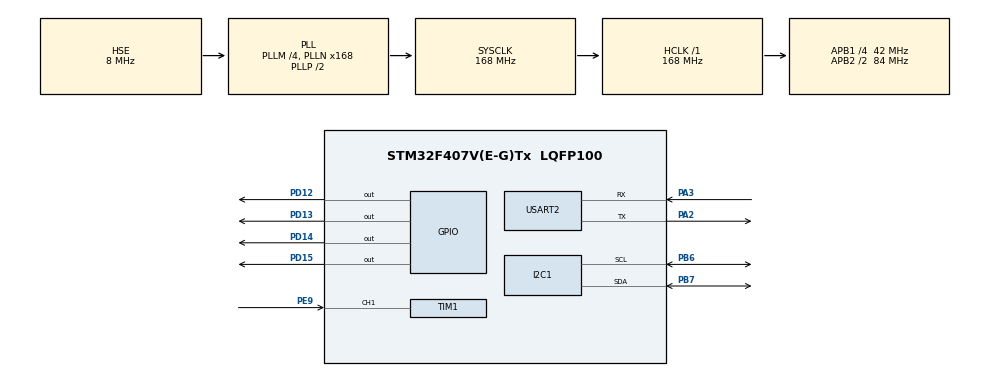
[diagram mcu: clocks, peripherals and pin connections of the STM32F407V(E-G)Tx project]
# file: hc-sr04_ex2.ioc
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Mcu.Family=STM32F4
Mcu.Name=STM32F407V(E-G)Tx
Mcu.Package=LQFP100
NVIC.PriorityGroup=NVIC_PRIORITYGROUP_4
NVIC.TIM1_TRG_COM_TIM11_IRQn=true\:0\:0\:false\:false\:true\:true
NVIC.TIM1_UP_TIM10_IRQn=true\:0\:0\:false\:false\:true\:true
NVIC.TIM2_IRQn=true\:0\:0\:false\:false\:true\:true
PA2.Mode=Asynchronous
PA2.Signal=USART2_TX
PA3.Mode=Asynchronous
PA3.Signal=USART2_RX
PB6.Mode=I2C
PB6.Signal=I2C1_SCL
PB7.Mode=I2C
PB7.Signal=I2C1_SDA
PD12.Signal=GPIO_Output
PD13.Signal=GPIO_Output
PD14.Signal=GPIO_Output
PD15.Signal=GPIO_Output
PE9.Signal=S_TIM1_CH1
PH0-OSC_IN.Mode=HSE-External-Oscillator
PH0-OSC_IN.Signal=RCC_OSC_IN
PH1-OSC_OUT.Mode=HSE-External-Oscillator
PH1-OSC_OUT.Signal=RCC_OSC_OUT
ProjectManager.HeapSize=0x200
ProjectManager.StackSize=0x400
ProjectManager.TargetToolchain=MDK-ARM V5
RCC.48MHZClocksFreq_Value=84000000
RCC.AHBFreq_Value=168000000
RCC.APB1CLKDivider=RCC_HCLK_DIV4
RCC.APB1Freq_Value=42000000
RCC.APB1TimFreq_Value=84000000
RCC.APB2CLKDivider=RCC_HCLK_DIV2
RCC.APB2Freq_Value=84000000
RCC.APB2TimFreq_Value=168000000
RCC.CortexFreq_Value=168000000
RCC.EnbaleCSS=true
RCC.HCLKFreq_Value=168000000
RCC.HSE_VALUE=8000000
RCC.HSI_VALUE=16000000
RCC.LSE_VALUE=32768
RCC.PLLM=4
RCC.PLLN=168
RCC.PLLSourceVirtual=RCC_PLLSOURCE_HSE
RCC.SYSCLKFreq_VALUE=168000000
RCC.SYSCLKSource=RCC_SYSCLKSOURCE_PLLCLK
RCC.VCOOutputFreq_Value=336000000
SH.S_TIM1_CH1.0=TIM1_CH1,TriggerSource_TI1FP1
TIM1.Period=23323
TIM1.Prescaler=167
TIM1.Slave_TriggerFilter=15
TIM2.Period=9
TIM2.Prescaler=83
USART2.VirtualMode=VM_ASYNC
VP_TIM1_VS_ClockSourceINT.Mode=Internal
VP_TIM1_VS_ControllerModeGated.Mode=Gated Mode
VP_TIM2_VS_ClockSourceINT.Mode=Internal
board=custom

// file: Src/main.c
/* USER CODE BEGIN Header */
/**
  ******************************************************************************
  * @file           : main.c
  * @brief          : Main program body
  ******************************************************************************
  ** This notice applies to any and all portions of this file
  * that are not between comment pairs USER CODE BEGIN and
  * USER CODE END. Other portions of this file, whether
  * inserted by the user or by software development tools
  * are owned by their respective copyright owners.
  *
  * COPYRIGHT(c) 2020 STMicroelectronics
  *
  * Redistribution and use in source and binary forms, with or without modification,
  * are permitted provided that the following conditions are met:
  *   1. Redistributions of source code must retain the above copyright notice,
  *      this list of conditions and the following disclaimer.
  *   2. Redistributions in binary form must reproduce the above copyright notice,
  *      this list of conditions and the following disclaimer in the documentation
  *      and/or other materials provided with the distribution.
  *   3. Neither the name of STMicroelectronics nor the names of its contributors
  *      may be used to endorse or promote products derived from this software
  *      without specific prior written permission.
  *
  * THIS SOFTWARE IS PROVIDED BY THE COPYRIGHT HOLDERS AND CONTRIBUTORS "AS IS"
  * AND ANY EXPRESS OR IMPLIED WARRANTIES, INCLUDING, BUT NOT LIMITED TO, THE
  * IMPLIED WARRANTIES OF MERCHANTABILITY AND FITNESS FOR A PARTICULAR PURPOSE ARE
  * DISCLAIMED. IN NO EVENT SHALL THE COPYRIGHT HOLDER OR CONTRIBUTORS BE LIABLE
  * FOR ANY DIRECT, INDIRECT, INCIDENTAL, SPECIAL, EXEMPLARY, OR CONSEQUENTIAL
  * DAMAGES (INCLUDING, BUT NOT LIMITED TO, PROCUREMENT OF SUBSTITUTE GOODS OR
  * SERVICES; LOSS OF USE, DATA, OR PROFITS; OR BUSINESS INTERRUPTION) HOWEVER
  * CAUSED AND ON ANY THEORY OF LIABILITY, WHETHER IN CONTRACT, STRICT LIABILITY,
  * OR TORT (INCLUDING NEGLIGENCE OR OTHERWISE) ARISING IN ANY WAY OUT OF THE USE
  * OF THIS SOFTWARE, EVEN IF ADVISED OF THE POSSIBILITY OF SUCH DAMAGE.
  *
  ******************************************************************************
  */
/* USER CODE END Header */

#include "main.h"

/* USER CODE BEGIN Includes */
#include "lcd_i2cModule.h"
#include <string.h>
#include "hcsr04_sensor.h"

/* USER CODE END Includes */

I2C_HandleTypeDef hi2c1;

TIM_HandleTypeDef htim1;
TIM_HandleTypeDef htim2;

UART_HandleTypeDef huart2;

/* USER CODE BEGIN PV */
float tx_us = 0;     //the time (transmission + reception) between object and the sensor in microseconds.
//float tx_ms = 0;   //the time in milliseconds.

//float dx_mm = 0;   //the distance(mm) converted from  the time (transmission + reception).
float dx_cm = 0;     //the distance(cm) ....
//float dx_m = 0;    //the distance(m) ....
//float dx_inch = 0; //the distance(inch) ....

hcsr04_data_t HCSR04_sensor;

//char log_info[120];
//int Alarm_Flag = 0;

/* USER CODE END PV */

void SystemClock_Config(void);
static void MX_GPIO_Init(void);
static void MX_USART2_UART_Init(void);
static void MX_TIM1_Init(void);
static void MX_I2C1_Init(void);
static void MX_TIM2_Init(void);

/* USER CODE BEGIN PFP */
void HAL_TIM_PeriodElapsedCallback(TIM_HandleTypeDef *htim)
{

	HCSR04_TIM_PEC(htim);

}

//void AlarmSet(double alarm_level)
//{
//
//	if(dx_cm <= alarm_level)
//	{
//		HAL_GPIO_WritePin(GPIOD, GPIO_PIN_14, GPIO_PIN_SET);      //Alarm On
//		Alarm_Flag = 1;                                           //Set Alarm Flag
//	}
//	else
//	{
//		HAL_GPIO_WritePin(GPIOD, GPIO_PIN_14, GPIO_PIN_RESET);    //Alarm Off
//		Alarm_Flag = 0;                                           //Reset Alarm Flag
//	}

//}

/* USER CODE END PFP */

int main(void)
{

  /* MCU Configuration--------------------------------------------------------*/

  /* Reset of all peripherals, Initializes the Flash interface and the Systick. */
  HAL_Init();

  /* Configure the system clock */
  SystemClock_Config();

  /* Initialize all configured peripherals */
  MX_GPIO_Init();
  MX_USART2_UART_Init();
  MX_TIM1_Init();
  MX_I2C1_Init();
  MX_TIM2_Init();

  /* USER CODE BEGIN 2 */
	LCD_i2cDeviceCheck();
	LCD_Init();
  LCD_BackLight(LCD_BL_ON);
//	LCD_SetCursor(1,1);

	HCSR04_Init();

  /* USER CODE END 2 */

  /* Infinite loop */
  /* USER CODE BEGIN WHILE */
  while (1)
  {
		//Default: Timer1 Parameter Settings;
	  //APB2 timer clocks (MHz): 168, Prescaler:167, AutoReload Register:23323
		//168 MHz / (167+1) = 1 MHz equals 1 us, Txf=1
		//So if we get ARR(counter period) value, the time(echo signal duration) equals (ARR+1) x 1us (use directly counter_TIM1 value in microseconds)
		//The sensor distance range: about 2cm-400cm, distance_cm = (counter_TIM1/2)*0.0343
		//If we get max. distance_cm=400, the counter_TIM1=(400*2)/0.0343=23323.6 , thus we can get max. ARR > 23323.6 as 23324 (ARR+1).
		//The sensor trigger pulse width= 10us

		//Default: Timer2 Parameter Settings;
	  //10us delay is enough and the sensor sends 8 pulses at 40kHz.
	  //APB1 timer clocks (MHz): 84, Prescaler:83, AutoReload Register(ARR):9
	  //84 MHz / (83+1) = 1 MHz equals 1 us, (ARR+1) x 1us equals 10us delay.

		//Blinking blue led (GPIO_PIN_Echo) shows that the sensor is seeking an object or has not dedected it exactly (it doesn't send the echo signal well).
		//if blue led is on and not blinking, it shows that the sensor has found an object (it sends the echo signal well).
	  //Blue led also indicates that TIM_Echo(default:TIM1) works and counts.
    //Blinking orange led (GPIO_PIN_Trigger) shows that the trigger pin works(set and reset) and therefore TIM_Delay(default:TIM2).

		HCSR04_GetInfo(&HCSR04_sensor);

    tx_us = HCSR04_sensor.duration_us;  //the time duration(us) of the signal obtained from echo pin (transmission + reception).
		dx_cm = HCSR04_sensor.distance_cm;  //the distance in cm.

    LCD_SetCursor(1,1);
	  LCD_Print("tx:%.f us  ", tx_us);   //Print the duration in us.
	  LCD_SetCursor(2,1);
	  LCD_Print("dx:%.2f cm  ", dx_cm);  //Print the distance in cm

//		tx_ms = HCSR04_sensor.duration_ms;
//		dx_mm = HCSR04_sensor.distance_mm;
//
//    LCD_SetCursor(1,1);
//	  LCD_Print("tx:%.2f ms  ", tx_ms);  //Print the duration in ms.
//	  LCD_SetCursor(2,1);
//	  LCD_Print("dx:%.2f mm  ", dx_mm);  //Print the distance in mm

//   /* Send log data(tx, dx and alarm info) to serial buffer */
//		HAL_UART_Transmit(&huart2, (uint8_t*)log_info, sprintf(log_info,
//	  Echo time(us) - tx:%d\nDistance (cm) - dx:%.2f\nAlarm info    - alarm:%d\n\n"
//		                  ,tx_us, dx_cm, Alarm_Flag), 500);

		HAL_Delay(800);
	  LCD_Clear();

    /* USER CODE END WHILE */

  }
}

void SystemClock_Config(void)
{
  RCC_OscInitTypeDef RCC_OscInitStruct = {0};
  RCC_ClkInitTypeDef RCC_ClkInitStruct = {0};

  /**Configure the main internal regulator output voltage
  */
  __HAL_RCC_PWR_CLK_ENABLE();
  __HAL_PWR_VOLTAGESCALING_CONFIG(PWR_REGULATOR_VOLTAGE_SCALE1);
  /**Initializes the CPU, AHB and APB busses clocks
  */
  RCC_OscInitStruct.OscillatorType = RCC_OSCILLATORTYPE_HSE;
  RCC_OscInitStruct.HSEState = RCC_HSE_ON;
  RCC_OscInitStruct.PLL.PLLState = RCC_PLL_ON;
  RCC_OscInitStruct.PLL.PLLSource = RCC_PLLSOURCE_HSE;
  RCC_OscInitStruct.PLL.PLLM = 4;
  RCC_OscInitStruct.PLL.PLLN = 168;
  RCC_OscInitStruct.PLL.PLLP = RCC_PLLP_DIV2;
  RCC_OscInitStruct.PLL.PLLQ = 4;
  if (HAL_RCC_OscConfig(&RCC_OscInitStruct) != HAL_OK)
  {
    Error_Handler();
  }
  /**Initializes the CPU, AHB and APB busses clocks
  */
  RCC_ClkInitStruct.ClockType = RCC_CLOCKTYPE_HCLK|RCC_CLOCKTYPE_SYSCLK
                              |RCC_CLOCKTYPE_PCLK1|RCC_CLOCKTYPE_PCLK2;
  RCC_ClkInitStruct.SYSCLKSource = RCC_SYSCLKSOURCE_PLLCLK;
  RCC_ClkInitStruct.AHBCLKDivider = RCC_SYSCLK_DIV1;
  RCC_ClkInitStruct.APB1CLKDivider = RCC_HCLK_DIV4;
  RCC_ClkInitStruct.APB2CLKDivider = RCC_HCLK_DIV2;

  if (HAL_RCC_ClockConfig(&RCC_ClkInitStruct, FLASH_LATENCY_5) != HAL_OK)
  {
    Error_Handler();
  }
  /**Enables the Clock Security System
  */
  HAL_RCC_EnableCSS();
}

static void MX_I2C1_Init(void)
{

  hi2c1.Instance = I2C1;
  hi2c1.Init.ClockSpeed = 100000;
  hi2c1.Init.DutyCycle = I2C_DUTYCYCLE_2;
  hi2c1.Init.OwnAddress1 = 0;
  hi2c1.Init.AddressingMode = I2C_ADDRESSINGMODE_7BIT;
  hi2c1.Init.DualAddressMode = I2C_DUALADDRESS_DISABLE;
  hi2c1.Init.OwnAddress2 = 0;
  hi2c1.Init.GeneralCallMode = I2C_GENERALCALL_DISABLE;
  hi2c1.Init.NoStretchMode = I2C_NOSTRETCH_DISABLE;
  if (HAL_I2C_Init(&hi2c1) != HAL_OK)
  {
    Error_Handler();
  }

}

static void MX_TIM1_Init(void)
{

  TIM_ClockConfigTypeDef sClockSourceConfig = {0};
  TIM_SlaveConfigTypeDef sSlaveConfig = {0};
  TIM_MasterConfigTypeDef sMasterConfig = {0};

  htim1.Instance = TIM1;
  htim1.Init.Prescaler = 167;
  htim1.Init.CounterMode = TIM_COUNTERMODE_UP;
  htim1.Init.Period = 23323;
  htim1.Init.ClockDivision = TIM_CLOCKDIVISION_DIV1;
  htim1.Init.RepetitionCounter = 0;
  if (HAL_TIM_Base_Init(&htim1) != HAL_OK)
  {
    Error_Handler();
  }
  sClockSourceConfig.ClockSource = TIM_CLOCKSOURCE_INTERNAL;
  if (HAL_TIM_ConfigClockSource(&htim1, &sClockSourceConfig) != HAL_OK)
  {
    Error_Handler();
  }
  sSlaveConfig.SlaveMode = TIM_SLAVEMODE_GATED;
  sSlaveConfig.InputTrigger = TIM_TS_TI1FP1;
  sSlaveConfig.TriggerPolarity = TIM_TRIGGERPOLARITY_RISING;
  sSlaveConfig.TriggerFilter = 15;
  if (HAL_TIM_SlaveConfigSynchronization(&htim1, &sSlaveConfig) != HAL_OK)
  {
    Error_Handler();
  }
  sMasterConfig.MasterOutputTrigger = TIM_TRGO_RESET;
  sMasterConfig.MasterSlaveMode = TIM_MASTERSLAVEMODE_DISABLE;
  if (HAL_TIMEx_MasterConfigSynchronization(&htim1, &sMasterConfig) != HAL_OK)
  {
    Error_Handler();
  }

}

static void MX_TIM2_Init(void)
{

  TIM_ClockConfigTypeDef sClockSourceConfig = {0};
  TIM_MasterConfigTypeDef sMasterConfig = {0};

  htim2.Instance = TIM2;
  htim2.Init.Prescaler = 83;
  htim2.Init.CounterMode = TIM_COUNTERMODE_UP;
  htim2.Init.Period = 9;
  htim2.Init.ClockDivision = TIM_CLOCKDIVISION_DIV1;
  if (HAL_TIM_Base_Init(&htim2) != HAL_OK)
  {
    Error_Handler();
  }
  sClockSourceConfig.ClockSource = TIM_CLOCKSOURCE_INTERNAL;
  if (HAL_TIM_ConfigClockSource(&htim2, &sClockSourceConfig) != HAL_OK)
  {
    Error_Handler();
  }
  sMasterConfig.MasterOutputTrigger = TIM_TRGO_RESET;
  sMasterConfig.MasterSlaveMode = TIM_MASTERSLAVEMODE_DISABLE;
  if (HAL_TIMEx_MasterConfigSynchronization(&htim2, &sMasterConfig) != HAL_OK)
  {
    Error_Handler();
  }

}

static void MX_USART2_UART_Init(void)
{

  huart2.Instance = USART2;
  huart2.Init.BaudRate = 115200;
  huart2.Init.WordLength = UART_WORDLENGTH_8B;
  huart2.Init.StopBits = UART_STOPBITS_1;
  huart2.Init.Parity = UART_PARITY_NONE;
  huart2.Init.Mode = UART_MODE_TX_RX;
  huart2.Init.HwFlowCtl = UART_HWCONTROL_NONE;
  huart2.Init.OverSampling = UART_OVERSAMPLING_16;
  if (HAL_UART_Init(&huart2) != HAL_OK)
  {
    Error_Handler();
  }

}

static void MX_GPIO_Init(void)
{
  GPIO_InitTypeDef GPIO_InitStruct = {0};

  /* GPIO Ports Clock Enable */
  __HAL_RCC_GPIOH_CLK_ENABLE();
  __HAL_RCC_GPIOA_CLK_ENABLE();
  __HAL_RCC_GPIOE_CLK_ENABLE();
  __HAL_RCC_GPIOD_CLK_ENABLE();
  __HAL_RCC_GPIOB_CLK_ENABLE();

  /*Configure GPIO pin Output Level */
  HAL_GPIO_WritePin(GPIOD, GPIO_PIN_12|GPIO_PIN_13|GPIO_PIN_14|GPIO_PIN_15, GPIO_PIN_RESET);

  /*Configure GPIO pins : PD12 PD13 PD14 PD15 */
  GPIO_InitStruct.Pin = GPIO_PIN_12|GPIO_PIN_13|GPIO_PIN_14|GPIO_PIN_15;
  GPIO_InitStruct.Mode = GPIO_MODE_OUTPUT_PP;
  GPIO_InitStruct.Pull = GPIO_NOPULL;
  GPIO_InitStruct.Speed = GPIO_SPEED_FREQ_LOW;
  HAL_GPIO_Init(GPIOD, &GPIO_InitStruct);

}

void Error_Handler(void)
{
}

/************************ (C) COPYRIGHT STMicroelectronics *****END OF FILE****/
